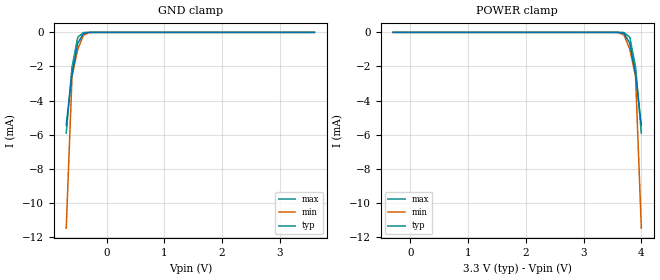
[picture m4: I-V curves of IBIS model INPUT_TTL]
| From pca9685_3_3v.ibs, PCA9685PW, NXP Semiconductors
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[Model]   INPUT_TTL
Model_type Input
Vinh=2.31
Vinl=0.99
C_comp   1.2p   1p   1.3p
[Temperature Range] 27   85   -40
[Voltage Range]   3.3   3   3.6
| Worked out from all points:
|   GND clamp passes 1 mA (typ) near -0.52 V on its own axis
[GND Clamp]
-700mV    -5.433mA   -11.48mA   -5.912mA
-600mV    -2.458mA   -2.591mA   -2.031mA
-500mV    -633.5uA   -979uA     -284.5uA
-400mV    -54.46uA   -156.3uA   -8.32uA
-300mV    -1.516uA   -7.654uA   -93.07nA
-200mV    -27.2nA    -199.3nA   -811.1pA
3.6V      91.8pA     277.1pA    73.69pA
[POWER Clamp]
-300mV    91.8pA     277.1pA    73.69pA
3.5V      -27.2nA    -199.3nA   -811.1pA
3.6V      -1.516uA   -7.654uA   -93.07nA
3.7V      -54.46uA   -156.3uA   -8.32uA
3.8V      -633.5uA   -979uA     -284.5uA
3.9V      -2.458mA   -2.591mA   -2.031mA
4V        -5.433mA   -11.48mA   -5.912mA
